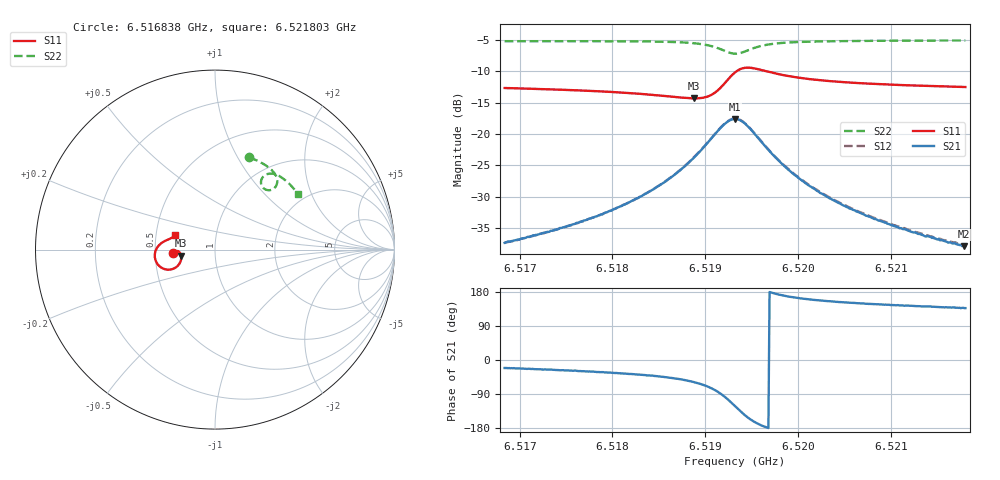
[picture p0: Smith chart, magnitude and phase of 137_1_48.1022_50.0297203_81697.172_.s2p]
#  HZ  S  RI  R  50.00
! Rohde & Schwarz Vector Network Analyzer
! Rohde-Schwarz,ZNB20-2Port,1311601062101988,3.16
! Created: UTC 12/23/2023, 3:48:22 AM
! freq[Hz]  re:S11  im:S11  re:S21  im:S21  re:S12  im:S12  re:S22  im:S22
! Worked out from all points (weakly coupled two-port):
!   401 points, 6.516838 GHz to 6.521803 GHz, reference 50 ohm
!   highest |S21| = -17.60 dB at 6.51932 GHz (marker M1); lowest = -37.9 dB at 6.52179 GHz (marker M2)
!   lowest |S11| = -14.3 dB at 6.518873 GHz (marker M3), VSWR 1.48, Z = 34 - j2.33 ohm
!   |S11| at or under -10 dB: start of sweep to 6.519337 GHz; 6.519657 GHz to end of sweep
!   |S22| runs from -7.2 to -5.1 dB; largest |S21 - S12| = 0.004
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6.5168377e9  -0.2316 -0.0201  0.0127 -0.00489  0.0127 -0.00437  0.1916 0.5135
6.5173218e9  -0.2265 -0.0129  0.015 -0.00721  0.0153 -0.00665  0.2276 0.499
6.5176693e9  -0.2218 -0.00865  0.0174 -0.00991  0.0178 -0.00933  0.2533 0.4865
6.5181534e9  -0.2125 -0.00588  0.0225 -0.0164  0.0231 -0.0157  0.2895 0.4646
6.518501e9  -0.2027 -0.00961  0.0282 -0.0265  0.0291 -0.0258  0.3164 0.4426
6.5186871e9  -0.1959 -0.0169  0.0316 -0.0367  0.033 -0.0359  0.3307 0.4261
6.5188733e9  -0.1893 -0.033  0.034 -0.0545  0.036 -0.0538  0.3433 0.4025
6.5189975e9  -0.1887 -0.053  0.031 -0.0743  0.0335 -0.0738  0.3469 0.3799
6.5190843e9  -0.1953 -0.0736  0.0219 -0.0931  0.0249 -0.093  0.3428 0.3601
6.5192209e9  -0.2359 -0.108  -0.0198 -0.1206  -0.0164 -0.1221  0.312 0.3323
6.5193202e9  -0.2912 -0.1047  -0.0691 -0.1122  -0.0665 -0.115  0.2745 0.3388
6.5193698e9  -0.3152 -0.0868  -0.0886 -0.0939  -0.0866 -0.0972  0.2612 0.354
6.5194319e9  -0.3321 -0.0566  -0.1005 -0.0661  -0.0992 -0.0694  0.2561 0.3769
6.5195436e9  -0.3315 -0.00849  -0.0946 -0.0249  -0.0946 -0.0279  0.2704 0.408
6.5196553e9  -0.3159 0.0198  -0.0783 -0.00339  -0.0787 -0.00577  0.2928 0.421
6.5198663e9  -0.2889 0.0427  -0.0533 0.0105  -0.0542 0.00897  0.3279 0.4217
6.5201518e9  -0.2668 0.0536  -0.035 0.0133  -0.0358 0.0124  0.3599 0.409
6.5205366e9  -0.2501 0.061  -0.0228 0.0124  -0.0235 0.0119  0.3908 0.3874
6.5209835e9  -0.2382 0.0676  -0.0158 0.0107  -0.0163 0.0105  0.4191 0.3612
6.5213559e9  -0.2307 0.0729  -0.0121 0.00962  -0.0127 0.00953  0.4394 0.3388
6.5217903e9  -0.2234 0.0788  -0.00933 0.00871  -0.0098 0.00846  0.4605 0.3118
6.5218027e9  -0.2231 0.0789  -0.00933 0.00872  -0.00993 0.00859  0.4611 0.3109
